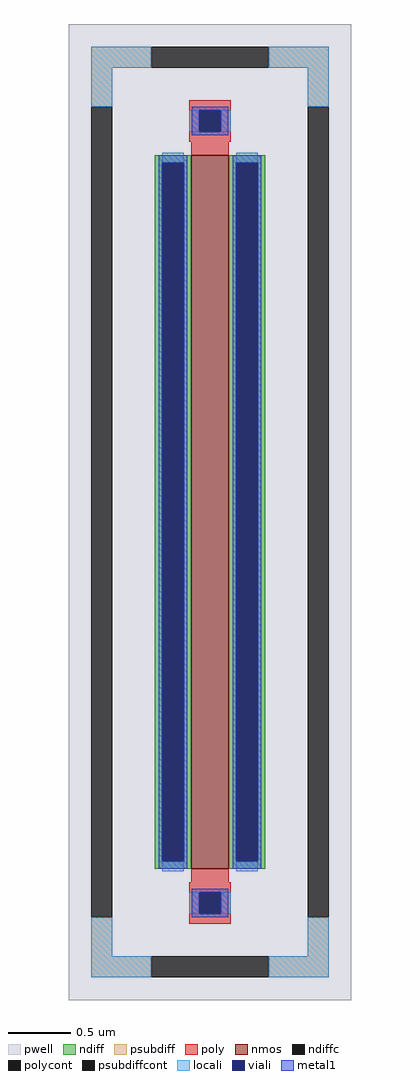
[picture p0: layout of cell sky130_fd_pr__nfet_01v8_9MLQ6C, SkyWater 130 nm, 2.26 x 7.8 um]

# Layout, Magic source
magic
tech sky130A
magscale 1 2
<< pwell >>
rect -226 -780 226 780
<< nmos >>
rect -30 -570 30 570
<< ndiff >>
rect -88 558 -30 570
rect -88 -558 -76 558
rect -42 -558 -30 558
rect -88 -570 -30 -558
rect 30 558 88 570
rect 30 -558 42 558
rect 76 -558 88 558
rect 30 -570 88 -558
<< ndiffc >>
rect -76 -558 -42 558
rect 42 -558 76 558
<< psubdiff >>
rect -190 710 -94 744
rect 94 710 190 744
rect -190 648 -156 710
rect 156 648 190 710
rect -190 -710 -156 -648
rect 156 -710 190 -648
rect -190 -744 -94 -710
rect 94 -744 190 -710
<< psubdiffcont >>
rect -94 710 94 744
rect -190 -648 -156 648
rect 156 -648 190 648
rect -94 -744 94 -710
<< poly >>
rect -33 642 33 658
rect -33 608 -17 642
rect 17 608 33 642
rect -33 592 33 608
rect -30 570 30 592
rect -30 -592 30 -570
rect -33 -608 33 -592
rect -33 -642 -17 -608
rect 17 -642 33 -608
rect -33 -658 33 -642
<< polycont >>
rect -17 608 17 642
rect -17 -642 17 -608
<< locali >>
rect -190 710 -94 744
rect 94 710 190 744
rect -190 648 -156 710
rect 156 648 190 710
rect -33 608 -17 642
rect 17 608 33 642
rect -76 558 -42 574
rect -76 -574 -42 -558
rect 42 558 76 574
rect 42 -574 76 -558
rect -33 -642 -17 -608
rect 17 -642 33 -608
rect -190 -710 -156 -648
rect 156 -710 190 -648
rect -190 -744 -94 -710
rect 94 -744 190 -710
<< viali >>
rect -17 608 17 642
rect -76 -558 -42 558
rect 42 -558 76 558
rect -17 -642 17 -608
<< metal1 >>
rect -29 642 29 648
rect -29 608 -17 642
rect 17 608 29 642
rect -29 602 29 608
rect -82 558 -36 570
rect -82 -558 -76 558
rect -42 -558 -36 558
rect -82 -570 -36 -558
rect 36 558 82 570
rect 36 -558 42 558
rect 76 -558 82 558
rect 36 -570 82 -558
rect -29 -608 29 -602
rect -29 -642 -17 -608
rect 17 -642 29 -608
rect -29 -648 29 -642
<< properties >>
string FIXED_BBOX -173 -727 173 727
string gencell sky130_fd_pr__nfet_01v8
string library sky130
string parameters w 5.7 l 0.3 m 1 nf 1 diffcov 100 polycov 100 guard 1 glc 1 grc 1 gtc 1 gbc 1 tbcov 100 rlcov 100 topc 1 botc 1 poverlap 0 doverlap 1 lmin 0.15 wmin 0.42 compatible {sky130_fd_pr__nfet_01v8 sky130_fd_pr__nfet_01v8_lvt  sky130_fd_bs_flash__special_sonosfet_star  sky130_fd_pr__nfet_g5v0d10v5 sky130_fd_pr__nfet_05v0_nvt  sky130_fd_pr__nfet_03v3_nvt} full_metal 1 viasrc 100 viadrn 100 viagate 100 viagb 0 viagr 0 viagl 0 viagt 0
<< end >>
